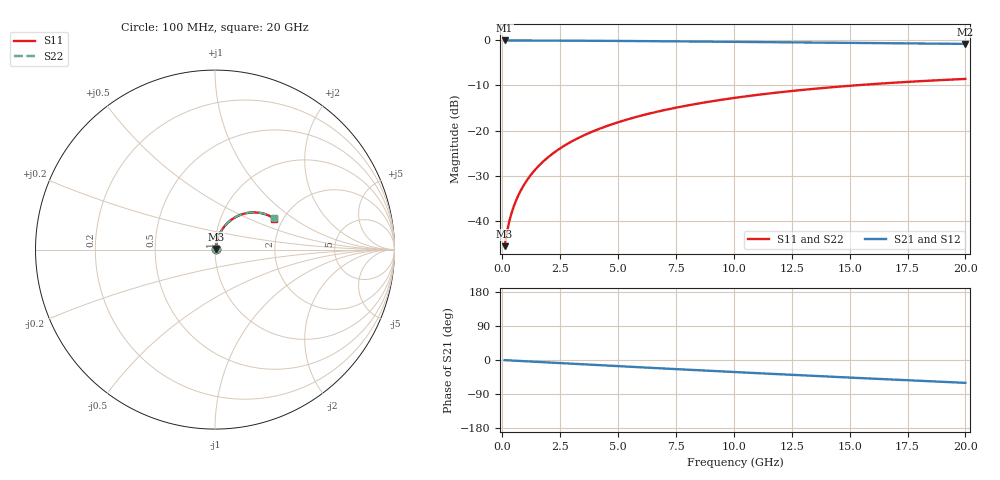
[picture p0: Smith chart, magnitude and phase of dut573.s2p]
! Touchstone file exported from HFSS 2026.1.0
!  File:  C:/ffzhzh/LocalFiles/Ansys_Project_Files/temp_train_TMRDL_573_1783008103_53980.aedt
!  Generated:  12:03:18 AM Jul  3, 2026
!  Design:  TMRDL
!  Project:  temp_train_TMRDL_573_1783008103_53980
! Variables:
!  h_bsmrdl = 2um
!  h_ox = 20um
!  h_rdl = 5um
!  h_sub = 80um
!  h_tmrdl = 3.33um
!  h_tsv = 80um
!  h_via = 3um
!  l_bsmrdl = 300um
!  l_sub = 1396.24um
!  l_tmrdl = 996.24um
!  m_sub = 200um
!  pitch = 43.83um
!  r_tsv = 6um
!  s_tmrdl = 10um
!  w_bsmrdl = 18um
!  w_sub = 500um
!  w_tmrdl = 26.1um
!  x_tsv_center1 = 1009.29um
!  x_tsv_center2 = 1327.29um
!  x_tsv_center3 = 2349.63um
!  x_tsv_center4 = 2667.63um
!  x_tsv_center5 = 3689.97um
!  x_tsv_center6 = 4007.97um
# GHz S MA R 50.000000
! Terminal data exported
! Port[1] = TM_RDL1_1_T1
! Port[2] = TM_RDL1_1_T2
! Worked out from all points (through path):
!   200 points, 100 MHz to 20 GHz, reference 50 ohm
!   highest |S21| = -0.04 dB at 100 MHz (marker M1); lowest = -0.8 dB at 20 GHz (marker M2)
!   group delay of S21, straight-line fit = 8.37 ps
!   lowest |S11| = -45.5 dB at 100 MHz (marker M3), VSWR 1.01, Z = 50.4 + j0.304 ohm
!   |S11| at or under -10 dB: start of sweep to 15.17 GHz
!   |S22| runs from -45.5 to -8.5 dB; largest |S21 - S12| = 9.1e-15
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0.1  0.005282 34.8  0.9957 -0.4  0.9957 -0.4  0.005282 34.8
! Gamma 0 0 0 0
! Port Impedance 50 0 50 0
0.2  0.007503 51.1  0.9953 -0.7  0.9953 -0.7  0.007503 51.1
0.3  0.009897 58.8  0.995 -1.0  0.995 -1.0  0.009897 58.8
0.4  0.01228 63.4  0.9947 -1.4  0.9947 -1.4  0.01228 63.4
0.5  0.01465 66.5  0.9945 -1.7  0.9945 -1.7  0.01465 66.5
0.6  0.01703 68.8  0.9943 -2.0  0.9943 -2.0  0.01703 68.9
0.8  0.02183 72.0  0.994 -2.7  0.994 -2.7  0.02183 72.0
1.1  0.02915 74.5  0.9936 -3.6  0.9936 -3.6  0.02915 74.5
1.3  0.03408 75.4  0.9934 -4.3  0.9934 -4.3  0.03408 75.4
1.6  0.04151 76.1  0.9929 -5.3  0.9929 -5.3  0.04151 76.1
2.1  0.05392 76.2  0.9921 -6.9  0.9921 -6.9  0.05392 76.2
2.7  0.06876 75.5  0.9908 -8.8  0.9908 -8.8  0.06876 75.5
3.5  0.08831 73.8  0.9887 -11.4  0.9887 -11.4  0.08831 73.8
4.2  0.1051 72.0  0.9866 -13.7  0.9866 -13.7  0.1051 72.0
5  0.124 69.8  0.9837 -16.2  0.9837 -16.2  0.124 69.9
5.9  0.1446 67.2  0.9802 -19.1  0.9802 -19.1  0.1446 67.3
6.8  0.1646 64.6  0.9763 -21.9  0.9763 -21.9  0.1646 64.7
8.3  0.1964 60.2  0.9694 -26.5  0.9694 -26.5  0.1964 60.3
10.1  0.232 55.0  0.9604 -32.0  0.9604 -32.0  0.232 55.0
13.4  0.2896 45.6  0.9433 -41.8  0.9433 -41.8  0.2896 45.6
16.7  0.3368 36.4  0.9268 -51.2  0.9268 -51.2  0.3369 36.5
20  0.3737 27.5  0.9123 -60.3  0.9123 -60.3  0.3737 27.6
